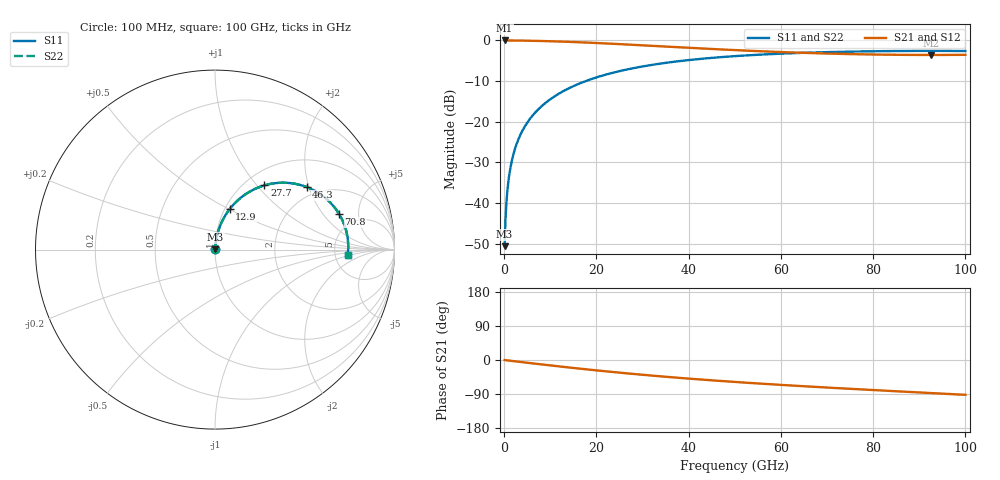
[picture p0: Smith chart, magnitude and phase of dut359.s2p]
! Touchstone file exported from HFSS 2026.1.0
!  File:  C:/ffzhzh/LocalFiles/Ansys_Project_Files/temp_train_RDL_359_1783503368_41296.aedt
!  Generated:  05:37:21 PM Jul  8, 2026
!  Design:  RDL
!  Project:  temp_train_RDL_359_1783503368_41296
! Variables:
!  h_bsmrdl = 2um
!  h_ox = 20um
!  h_rdl = 5um
!  h_sub = 80um
!  h_tmrdl = 4.75um
!  h_tsv = 80um
!  h_via = 3um
!  l_bsmrdl = 300um
!  l_sub = 694.61um
!  l_tmrdl = 294.61um
!  m_sub = 200um
!  pitch = 57.48um
!  r_tsv = 6um
!  s_tmrdl = 10um
!  w_bsmrdl = 18um
!  w_sub = 500um
!  w_tmrdl = 10.63um
!  x_tsv_center1 = 299.925um
!  x_tsv_center2 = 617.925um
!  x_tsv_center3 = 923.165um
!  x_tsv_center4 = 1241.165um
!  x_tsv_center5 = 1546.405um
!  x_tsv_center6 = 1864.405um
# GHz S MA R 50.000000
! Terminal data exported
! Port[1] = TM_RDL1_1_T1
! Port[2] = TM_RDL1_1_T2
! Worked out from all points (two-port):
!   1000 points, 100 MHz to 100 GHz, reference 50 ohm
!   highest |S21| = -0.02 dB at 100 MHz (marker M1); lowest = -3.6 dB at 92.6 GHz (marker M2)
!   |S21| within 3 dB of the highest: start of sweep to 63.58 GHz
!   lowest |S11| = -50.6 dB at 100 MHz (marker M3), VSWR 1.01, Z = 50.2 + j0.202 ohm
!   |S11| at or under -10 dB: start of sweep to 17.73 GHz
!   |S22| runs from -50.6 to -2.6 dB; largest |S21 - S12| = 5.2e-15
!   S11 on the Smith chart (normalised r, x): 100 MHz: 1.00, +0.00; 12.9 GHz: 1.05, +0.50; 27.7 GHz: 1.22, +1.10; 46.3 GHz: 1.71, +1.93; 70.8 GHz: 3.56, +2.94; 100 GHz: 6.57, -0.85
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0.1  0.002942 43.2  0.9979 -0.1  0.9979 -0.1  0.002942 43.2
! Gamma 0 0 0 0
! Port Impedance 50 0 50 0
0.4  0.008321 73.8  0.9977 -0.6  0.9977 -0.6  0.008321 73.8
0.8  0.01607 80.4  0.9975 -1.2  0.9975 -1.2  0.01607 80.4
1.2  0.02387 82.3  0.9973 -1.8  0.9973 -1.8  0.02387 82.3
1.6  0.03169 83.0  0.9969 -2.4  0.9969 -2.4  0.03169 83.0
2  0.0395 83.2  0.9966 -2.9  0.9966 -2.9  0.0395 83.2
3.2  0.0628 82.5  0.9949 -4.7  0.9949 -4.7  0.0628 82.5
4.9  0.0953 80.6  0.9916 -7.1  0.9916 -7.1  0.0953 80.6
7  0.1345 77.9  0.9862 -10.1  0.9862 -10.1  0.1345 77.9
9.7  0.1833 74.3  0.9774 -13.9  0.9774 -13.9  0.1833 74.3
12.9  0.2386 70.2  0.9645 -18.2  0.9645 -18.2  0.2386 70.2
16.8  0.3019 65.2  0.9459 -23.3  0.9459 -23.3  0.3019 65.2
21.8  0.3756 59.2  0.9186 -29.6  0.9186 -29.6  0.3756 59.2
27.7  0.4515 52.4  0.8836 -36.5  0.8836 -36.5  0.4515 52.4
33.4  0.5135 46.4  0.8491 -42.6  0.8491 -42.6  0.5135 46.4
46.3  0.6179 34.4  0.7772 -54.8  0.7772 -54.8  0.6179 34.4
50.1  0.6406 31.2  0.7588 -58.0  0.7588 -58.0  0.6406 31.2
66.7  0.7085 18.9  0.6972 -70.5  0.6972 -70.5  0.7085 18.9
70.8  0.7189 16.1  0.6867 -73.3  0.6867 -73.3  0.7189 16.2
83.4  0.7386 8.0  0.666 -81.5  0.666 -81.5  0.7386 8.1
92.6  0.7426 2.3  0.6615 -87.3  0.6615 -87.3  0.7426 2.4
100  0.7398 -2.3  0.6644 -91.9  0.6644 -91.9  0.7399 -2.2
